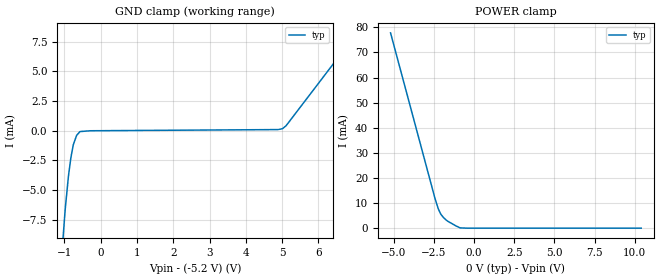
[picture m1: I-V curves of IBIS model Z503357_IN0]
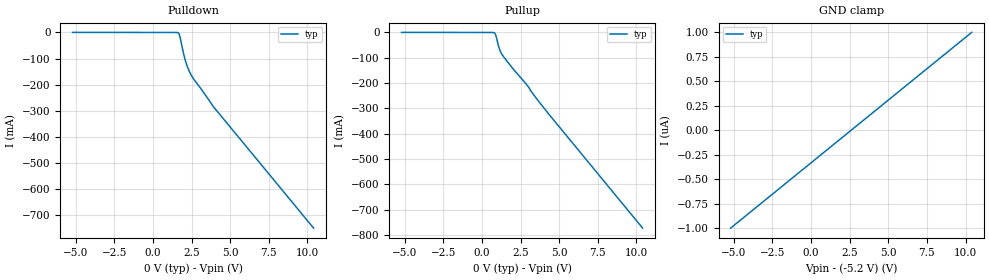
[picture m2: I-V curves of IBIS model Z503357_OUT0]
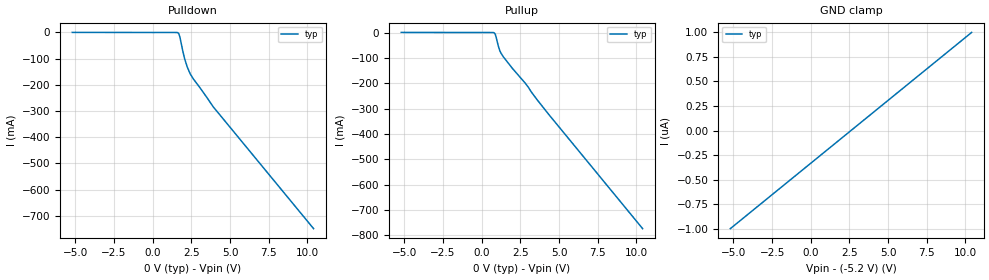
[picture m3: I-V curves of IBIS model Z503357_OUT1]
| YOU ARE ONLY AUTHORIZED TO USE THIS SOFTWARE
| ACCORDING TO LICENSOR'S LICENSE RESTRICTIONS.
[IBIS Ver] 3.1
[File Name] mc100e107fn.ibs
[File Rev] 2.0
[Source] Measured and created by ICX Technology
[Date] Friday 7/14/00 9:07:46 AM
[Copyright]
| (C) COPYRIGHT 1993-2000
| MENTOR GRAPHICS CORPORATION
| ICX STANDARD LIBRARY, ICX PROJECT MODELING,
| ICX CUSTOM MODELING, ICX VENDOR MODEL
| ALL RIGHTS RESERVED.
| THE FOLLOWING ARE TRADEMARKS OR SERVICE MARKS OF
| MENTOR GRAPHICS CORPORATION:ICX (R), ICX STANDARD
| LIBRARY(R), ICX PROJECT MODELING(R), ICX CUSTOM
| MODELING(R), qualityIBIS(TM), MODELVIEWER(TM),
| AND MODELEDITOR(TM)
| ALL COPIES OF SOFTWARE, INCLUDING BUT NOT LIMITED TO
| ANY MODIFICATIONS, ENHANCEMENTS OR DERIVATIVE WORKS,
| MUST CONTAIN ALL MENTOR GRAPHICS CORPORATION'S
| NOTICES AND LEGENDS, INCLUDING THOSE EMBEDDED IN
| SOFTWARE AND THOSE AFFIXED TO SOFTWARE MEDIUM
| AND CONTAINER, AS RECEIVED FROM MENTOR GRAPHICS
| CORPORATION.
|  ZAP Model Builder 2.7
[Component] MC100E107FN
[Manufacturer] OnSemiconductor
[Package]
| variable   typ   min   max
R_pkg  .083ohms NA NA
L_pkg  4.299nH NA NA
C_pkg  1.045pF NA NA
[Pin] signal_name  model_name  R_pin  L_pin C_pin
1 VEE POWER .08 3.94n .925p
2 D1A Z503357_IN0 .082 4.14n .995p
3 D1B Z503357_IN0 .084 4.354n 1.065p
4 D0A Z503357_IN0 .086 4.583n 1.135p
5 D0B Z503357_IN0 .086 4.583n 1.135p
6 VCCO POWER .084 4.354n 1.065p
7 Q1 Z503357_OUT0 .082 4.14n .995p
8 _Q0 Z503357_OUT1 .08 3.94n .925p
9 Q1 Z503357_OUT0 .082 4.14n .995p
10 _Q1 Z503357_OUT1 .084 4.354n 1.065p
11 VCCO POWER .086 4.583n 1.135p
12 Q2 Z503357_OUT0 .086 4.583n 1.135p
13 _Q2 Z503357_OUT1 .084 4.354n 1.065p
14 Q3 Z503357_OUT0 .082 4.14n .995p
15 _Q3 Z503357_OUT1 .08 3.94n .925p
16 VCC POWER .082 4.14n .995p
17 Q4 Z503357_OUT0 .084 4.354n 1.065p
18 _Q4 Z503357_OUT1 .086 4.583n 1.135p
19 _F Z503357_OUT2 .086 4.583n 1.135p
20 F Z503357_OUT3 .084 4.354n 1.065p
21 VCCO POWER .082 4.14n .995p
22 NC NC .08 3.94n .925p
23 D4A Z503357_IN0 .082 4.14n .995p
24 D4B Z503357_IN0 .084 4.354n 1.065p
25 D3A Z503357_IN0 .086 4.583n 1.135p
26 D3B Z503357_IN0 .086 4.583n 1.135p
27 D2A Z503357_IN0 .084 4.354n 1.065p
28 D2B Z503357_IN0 .082 4.14n .995p
| Models and submodels in the file (5): Z503357_IN0 (Input_ECL), Z503357_OUT0 (Output_ECL), Z503357_OUT1 (Output_ECL), Z503357_OUT2 (Output_ECL), Z503357_OUT3 (Output_ECL)
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| (C) COPYRIGHT 1993-2000
| MENTOR GRAPHICS CORPORATION
| ICX STANDARD LIBRARY, ICX PROJECT MODELING,
| ICX CUSTOM MODELING, ICX VENDOR MODEL
| ALL RIGHTS RESERVED.
| THE FOLLOWING ARE TRADEMARKS OR SERVICE MARKS OF
| MENTOR GRAPHICS CORPORATION:ICX (R), ICX STANDARD
| LIBRARY(R), ICX PROJECT MODELING(R), ICX CUSTOM
| MODELING(R), qualityIBIS(TM), MODELVIEWER(TM),
| AND MODELEDITOR(TM)
| ALL COPIES OF SOFTWARE, INCLUDING BUT NOT LIMITED TO
| ANY MODIFICATIONS, ENHANCEMENTS OR DERIVATIVE WORKS,
| MUST CONTAIN ALL MENTOR GRAPHICS CORPORATION'S
| NOTICES AND LEGENDS, INCLUDING THOSE EMBEDDED IN
| SOFTWARE AND THOSE AFFIXED TO SOFTWARE MEDIUM
| AND CONTAINER, AS RECEIVED FROM MENTOR GRAPHICS
| CORPORATION.
| Model Application Version 1.89 2/18/99.
[Model] Z503357_IN0
Model_type Input_ECL
Vinl = -1.475V
Vinh = -1.165V
C_comp 4.000pF NA NA
| variable typ   min   max
[Voltage Range] -5.200V NA NA
[GND Clamp Reference] -5.200V NA NA
[POWER Clamp Reference] 0.000V NA NA
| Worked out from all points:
|   GND clamp passes 1 mA (typ) near -0.73 V on its own axis
[GND Clamp]
-5.2V     -244.7mA   NA         NA
-1.094V   -11.32mA   NA         NA
-981mV    -6.692mA   NA         NA
-889mV    -3.814mA   NA         NA
-825mV    -2.334mA   NA         NA
-757mV    -1.205mA   NA         NA
-664mV    -404.8uA   NA         NA
-571mV    -86.89uA   NA         NA
4.888V    79.99uA    NA         NA
5.01V     155uA      NA         NA
5.11V     408.8uA    NA         NA
10.4V     21.59mA    NA         NA
[POWER Clamp]
-5.2V     77.77mA    NA         NA
-2.422V   11.55mA    NA         NA
-2.227V   7.663mA    NA         NA
-2.077V   5.594mA    NA         NA
-1.899V   4.187mA    NA         NA
-1.719V   3.128mA    NA         NA
-1.606V   2.629mA    NA         NA
-1.108V   824.6uA    NA         NA
-863.6mV  103.4uA    NA         NA
-431.8mV  0A         NA         NA
10.4V     0A         NA         NA
| (C) COPYRIGHT 1993-2000
| MENTOR GRAPHICS CORPORATION
| ICX STANDARD LIBRARY, ICX PROJECT MODELING,
| ICX CUSTOM MODELING, ICX VENDOR MODEL
| ALL RIGHTS RESERVED.
| THE FOLLOWING ARE TRADEMARKS OR SERVICE MARKS OF
| MENTOR GRAPHICS CORPORATION:ICX (R), ICX STANDARD
| LIBRARY(R), ICX PROJECT MODELING(R), ICX CUSTOM
| MODELING(R), qualityIBIS(TM), MODELVIEWER(TM),
| AND MODELEDITOR(TM)
| ALL COPIES OF SOFTWARE, INCLUDING BUT NOT LIMITED TO
| ANY MODIFICATIONS, ENHANCEMENTS OR DERIVATIVE WORKS,
| MUST CONTAIN ALL MENTOR GRAPHICS CORPORATION'S
| NOTICES AND LEGENDS, INCLUDING THOSE EMBEDDED IN
| SOFTWARE AND THOSE AFFIXED TO SOFTWARE MEDIUM
| AND CONTAINER, AS RECEIVED FROM MENTOR GRAPHICS
| CORPORATION.
| Model Application Version 1.89 2/18/99.
[Model] Z503357_OUT0
Model_type Output_ECL
Vref=-2.000V
Rref=50.00ohms
Cref=0.000F
Vmeas=-1.320V
C_comp 8.000pF NA NA
| variable typ   min   max
[Voltage Range] -5.200V NA NA
[POWER Clamp Reference] 0.000V NA NA
[Pullup Reference] 0.000V NA NA
[Pulldown Reference] 0.000V NA NA
[GND Clamp Reference] -5.200V NA NA
[GND Clamp]
-5.2V     -1uA       NA         NA
10.4V     1uA        NA         NA
[Pulldown]
-5.2V     376.2uA    NA         NA
1.643V    -1.549mA   NA         NA
1.699V    -5.962mA   NA         NA
1.765V    -18.95mA   NA         NA
1.947V    -71.17mA   NA         NA
2.07V     -101.3mA   NA         NA
2.236V    -132.1mA   NA         NA
2.428V    -158.3mA   NA         NA
2.627V    -177.4mA   NA         NA
3.91V     -283.8mA   NA         NA
10.4V     -749.5mA   NA         NA
[Pullup]
-5.2V     492.4uA    NA         NA
825mV     -2.157mA   NA         NA
878.4mV   -7.568mA   NA         NA
928mV     -17.25mA   NA         NA
1.067V    -52.18mA   NA         NA
1.167V    -71.33mA   NA         NA
1.417V    -97.38mA   NA         NA
1.988V    -141.7mA   NA         NA
2.827V    -200.7mA   NA         NA
3.57V     -264.2mA   NA         NA
4.344V    -323.8mA   NA         NA
10.4V     -773.2mA   NA         NA
[POWER Clamp]
-5.2V     0A         NA         NA
10.4V     0A         NA         NA
[Ramp]
| variable typ min max
dV/dt_r 474.1m/303.6p NA NA
dV/dt_f 474.1m/271.5p NA NA
R_load = 500.0Ohms
| (C) COPYRIGHT 1993-2000
| MENTOR GRAPHICS CORPORATION
| ICX STANDARD LIBRARY, ICX PROJECT MODELING,
| ICX CUSTOM MODELING, ICX VENDOR MODEL
| ALL RIGHTS RESERVED.
| THE FOLLOWING ARE TRADEMARKS OR SERVICE MARKS OF
| MENTOR GRAPHICS CORPORATION:ICX (R), ICX STANDARD
| LIBRARY(R), ICX PROJECT MODELING(R), ICX CUSTOM
| MODELING(R), qualityIBIS(TM), MODELVIEWER(TM),
| AND MODELEDITOR(TM)
| ALL COPIES OF SOFTWARE, INCLUDING BUT NOT LIMITED TO
| ANY MODIFICATIONS, ENHANCEMENTS OR DERIVATIVE WORKS,
| MUST CONTAIN ALL MENTOR GRAPHICS CORPORATION'S
| NOTICES AND LEGENDS, INCLUDING THOSE EMBEDDED IN
| SOFTWARE AND THOSE AFFIXED TO SOFTWARE MEDIUM
| AND CONTAINER, AS RECEIVED FROM MENTOR GRAPHICS
| CORPORATION.
| Model Application Version 1.89 2/18/99.
[Model] Z503357_OUT1
Model_type Output_ECL
Vref=-2.000V
Rref=50.00ohms
Cref=0.000F
Vmeas=-1.320V
C_comp 8.000pF NA NA
| variable typ   min   max
[Voltage Range] -5.200V NA NA
[POWER Clamp Reference] 0.000V NA NA
[Pullup Reference] 0.000V NA NA
[Pulldown Reference] 0.000V NA NA
[GND Clamp Reference] -5.200V NA NA
[GND Clamp]
-5.2V     -1uA       NA         NA
10.4V     1uA        NA         NA
[Pulldown]
-5.2V     376.2uA    NA         NA
1.643V    -1.549mA   NA         NA
1.699V    -5.962mA   NA         NA
1.765V    -18.95mA   NA         NA
1.947V    -71.17mA   NA         NA
2.07V     -101.3mA   NA         NA
2.236V    -132.1mA   NA         NA
2.428V    -158.3mA   NA         NA
2.627V    -177.4mA   NA         NA
3.91V     -283.8mA   NA         NA
10.4V     -749.5mA   NA         NA
[Pullup]
-5.2V     492.4uA    NA         NA
825mV     -2.157mA   NA         NA
878.4mV   -7.568mA   NA         NA
928mV     -17.25mA   NA         NA
1.067V    -52.18mA   NA         NA
1.167V    -71.33mA   NA         NA
1.417V    -97.38mA   NA         NA
1.988V    -141.7mA   NA         NA
2.827V    -200.7mA   NA         NA
3.57V     -264.2mA   NA         NA
4.344V    -323.8mA   NA         NA
10.4V     -773.2mA   NA         NA
[POWER Clamp]
-5.2V     0A         NA         NA
10.4V     0A         NA         NA
[Ramp]
| variable typ min max
dV/dt_r 474.1m/339.7p NA NA
dV/dt_f 474.1m/259.7p NA NA
R_load = 500.0Ohms
